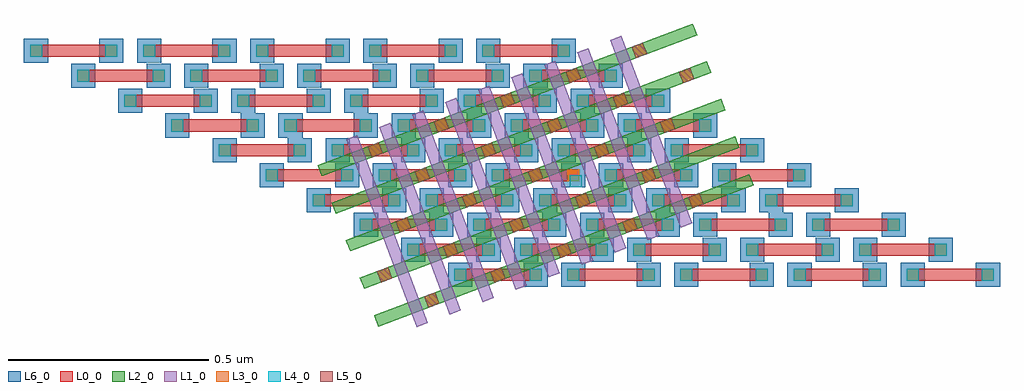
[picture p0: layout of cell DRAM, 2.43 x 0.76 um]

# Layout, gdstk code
import gdstk
lib = gdstk.Library(unit=1e-6, precision=1e-10)
def R(c, l, rs):  # rectangles x0, y0, x1, y1
    for r in rs: c.add(gdstk.rectangle(r[:2], r[2:], *l))
def A(c, l, x, y, w, h, nx, ny, dx, dy):  # array of equal rectangles
    R(c, l, [(x+i*dx, y+j*dy, x+i*dx+w, y+j*dy+h) for i in range(nx) for j in range(ny)])
def P(c, l, *ps):  # polygons
    for p in ps: c.add(gdstk.Polygon(p, *l))
L0_0 = (0, 0)
L1_0 = (1, 0)
L2_0 = (2, 0)
L3_0 = (3, 0)
L4_0 = (4, 0)
L5_0 = (5, 0)
L6_0 = (6, 0)

dram = lib.new_cell('DRAM')
A(dram, L0_0, 0.0792, -0.263, 0.2181, 0.03, 3, 1, 0.2821, 0)
A(dram, L0_0, -0.0384, -0.201, 0.2181, 0.03, 4, 1, 0.2821, 0)
A(dram, L0_0, 0.1261, -0.139, 0.2181, 0.03, 3, 1, 0.2821, 0)
A(dram, L0_0, -0.5556, -0.077, 0.218, 0.03, 3, 1, 0.2821, 0)
A(dram, L0_0, -0.3911, -0.015, 0.218, 0.03, 3, 1, 0.2821, 0)
A(dram, L0_0, -0.2266, 0.047, 0.218, 0.03, 3, 1, 0.2821, 0)
A(dram, L0_0, -0.9084, 0.109, 0.2181, 0.03, 3, 1, 0.2821, 0)
A(dram, L0_0, -1.026, 0.171, 0.2181, 0.03, 4, 1, 0.2821, 0)
A(dram, L0_0, -0.8615, 0.233, 0.2181, 0.03, 3, 1, 0.2821, 0)
A(dram, L0_0, -0.697, 0.295, 0.2181, 0.03, 3, 1, 0.2821, 0)
R(dram, L0_0, [(-0.2028,-0.263,0.0152,-0.233), (0.9255,-0.263,1.1435,-0.233), (-0.3204,-0.201,-0.1024,-0.171), (-0.438,-0.139,-0.22,-0.109), (-0.1559,-0.139,0.0621,-0.109), (0.2906,-0.077,0.5087,-0.047), (0.5727,-0.077,0.7908,-0.047), (-0.6732,-0.015,-0.4551,0.015), (0.4551,-0.015,0.6732,0.015), (-0.7908,0.047,-0.5727,0.077), (-0.5087,0.047,-0.2906,0.077), (-0.0621,0.109,0.1559,0.139), (0.22,0.109,0.438,0.139), (0.1024,0.171,0.3204,0.201), (-1.1435,0.233,-0.9255,0.263), (-0.0152,0.233,0.2028,0.263), (-1.2611,0.295,-1.0431,0.325), (-0.979,0.295,-0.761,0.325)])
P(dram, L1_0, [(-0.2142,-0.3478),(-0.3904,0.1202),(-0.3623,0.1308),(-0.1861,-0.3372)],
  [(0.3623,-0.1308),(0.1861,0.3372),(0.2142,0.3478),(0.3904,-0.1202)],
  [(-0.2966,-0.3788),(-0.4727,0.0892),(-0.4446,0.0998),(-0.2685,-0.3682)],
  [(-0.1319,-0.3168),(-0.308,0.1512),(-0.2799,0.1618),(-0.1038,-0.3062)],
  [(0.0329,-0.2548),(-0.1433,0.2132),(-0.1152,0.2238),(0.0609,-0.2442)],
  [(-0.0495,-0.2858),(-0.2256,0.1822),(-0.1976,0.1928),(-0.0214,-0.2752)],
  [(0.2799,-0.1618),(0.1038,0.3062),(0.1319,0.3168),(0.308,-0.1512)],
  [(0.1152,-0.2238),(-0.0609,0.2442),(-0.0329,0.2548),(0.1433,-0.2132)],
  [(0.1976,-0.1928),(0.0214,0.2752),(0.0495,0.2858),(0.2256,-0.1822)])
P(dram, L2_0, [(-0.4627,-0.1902),(-0.4732,-0.1621),(0.4627,0.1902),(0.4732,0.1621)],
  [(-0.5331,-0.003),(-0.5437,0.0251),(0.3922,0.3774),(0.4028,0.3493)],
  [(-0.4979,-0.0966),(-0.5085,-0.0685),(0.4274,0.2838),(0.438,0.2557)],
  [(-0.3922,-0.3774),(-0.4028,-0.3493),(0.5331,0.003),(0.5437,-0.0251)],
  [(-0.4274,-0.2838),(-0.438,-0.2557),(0.4979,0.0966),(0.5085,0.0685)])
R(dram, L3_0, [(-0.2028,-0.263,-0.1728,-0.233), (-0.0148,-0.263,0.0152,-0.233), (0.0792,-0.263,0.1092,-0.233), (0.2673,-0.263,0.2973,-0.233), (0.3613,-0.263,0.3913,-0.233), (0.5494,-0.263,0.5794,-0.233), (0.6434,-0.263,0.6734,-0.233), (0.8315,-0.263,0.8615,-0.233), (0.9255,-0.263,0.9555,-0.233), (1.1135,-0.263,1.1435,-0.233), (-0.3204,-0.201,-0.2904,-0.171), (-0.1324,-0.201,-0.1024,-0.171), (-0.0384,-0.201,-0.0084,-0.171), (0.1497,-0.201,0.1797,-0.171), (0.2437,-0.201,0.2737,-0.171), (0.4318,-0.201,0.4618,-0.171), (0.5258,-0.201,0.5558,-0.171), (0.7139,-0.201,0.7439,-0.171), (0.8079,-0.201,0.8379,-0.171), (0.996,-0.201,1.026,-0.171), (-0.438,-0.139,-0.408,-0.109), (-0.25,-0.139,-0.22,-0.109), (-0.1559,-0.139,-0.1259,-0.109), (0.0321,-0.139,0.0621,-0.109), (0.1261,-0.139,0.1561,-0.109), (0.3142,-0.139,0.3442,-0.109), (0.4082,-0.139,0.4382,-0.109), (0.5963,-0.139,0.6263,-0.109), (0.6903,-0.139,0.7203,-0.109), (0.8784,-0.139,0.9084,-0.109), (-0.5556,-0.077,-0.5256,-0.047), (-0.3676,-0.077,-0.3376,-0.047), (-0.2735,-0.077,-0.2435,-0.047), (-0.0855,-0.077,-0.0555,-0.047), (0.0086,-0.077,0.0386,-0.047), (0.1966,-0.077,0.2266,-0.047), (0.2906,-0.077,0.3206,-0.047), (0.4787,-0.077,0.5087,-0.047), (0.5727,-0.077,0.6027,-0.047), (0.7608,-0.077,0.7908,-0.047), (-0.6732,-0.015,-0.6432,0.015), (-0.4851,-0.015,-0.4551,0.015), (-0.3911,-0.015,-0.3611,0.015), (-0.2031,-0.015,-0.1731,0.015), (-0.109,-0.015,-0.079,0.015), (0.079,-0.015,0.109,0.015), (0.1731,-0.015,0.2031,0.015), (0.3611,-0.015,0.3911,0.015), (0.4551,-0.015,0.4851,0.015), (0.6432,-0.015,0.6732,0.015), (-0.7908,0.047,-0.7608,0.077), (-0.6027,0.047,-0.5727,0.077), (-0.5087,0.047,-0.4787,0.077), (-0.3206,0.047,-0.2906,0.077), (-0.2266,0.047,-0.1966,0.077), (-0.0386,0.047,-0.0086,0.077), (0.0555,0.047,0.0855,0.077), (0.2435,0.047,0.2735,0.077), (0.3376,0.047,0.3676,0.077), (0.5256,0.047,0.5556,0.077), (-0.9084,0.109,-0.8784,0.139), (-0.7203,0.109,-0.6903,0.139), (-0.6263,0.109,-0.5963,0.139), (-0.4382,0.109,-0.4082,0.139), (-0.3442,0.109,-0.3142,0.139), (-0.1561,0.109,-0.1261,0.139), (-0.0621,0.109,-0.0321,0.139), (0.1259,0.109,0.1559,0.139), (0.22,0.109,0.25,0.139), (0.408,0.109,0.438,0.139), (-1.026,0.171,-0.996,0.201), (-0.8379,0.171,-0.8079,0.201), (-0.7439,0.171,-0.7139,0.201), (-0.5558,0.171,-0.5258,0.201), (-0.4618,0.171,-0.4318,0.201), (-0.2737,0.171,-0.2437,0.201), (-0.1797,0.171,-0.1497,0.201), (0.0084,0.171,0.0384,0.201), (0.1024,0.171,0.1324,0.201), (0.2904,0.171,0.3204,0.201), (-1.1435,0.233,-1.1135,0.263), (-0.9555,0.233,-0.9255,0.263), (-0.8615,0.233,-0.8315,0.263), (-0.6734,0.233,-0.6434,0.263), (-0.5794,0.233,-0.5494,0.263), (-0.3913,0.233,-0.3613,0.263), (-0.2973,0.233,-0.2673,0.263), (-0.1092,0.233,-0.0792,0.263), (-0.0152,0.233,0.0148,0.263), (0.1728,0.233,0.2028,0.263), (-1.2611,0.295,-1.2311,0.325), (-1.0731,0.295,-1.0431,0.325), (-0.979,0.295,-0.949,0.325), (-0.791,0.295,-0.761,0.325), (-0.697,0.295,-0.667,0.325), (-0.5089,0.295,-0.4789,0.325), (-0.4149,0.295,-0.3849,0.325), (-0.2268,0.295,-0.1968,0.325), (-0.1328,0.295,-0.1028,0.325), (0.0553,0.295,0.0853,0.325)])
P(dram, L3_0, [(-0.2677,-0.3305),(-0.2783,-0.3024),(-0.2502,-0.2919),(-0.2397,-0.3199)],
  [(-0.2911,-0.0187),(-0.3016,0.0093),(-0.2735,0.0199),(-0.263,-0.0082)],
  [(-0.3853,-0.2679),(-0.3959,-0.2398),(-0.3678,-0.2293),(-0.3572,-0.2573)],
  [(-0.2206,-0.2059),(-0.2312,-0.1778),(-0.2031,-0.1673),(-0.1925,-0.1953)],
  [(-0.103,-0.2685),(-0.1136,-0.2404),(-0.0855,-0.2299),(-0.0749,-0.2579)],
  [(0.0617,-0.2065),(0.0511,-0.1784),(0.0792,-0.1679),(0.0898,-0.1959)],
  [(0.2264,-0.1445),(0.2158,-0.1164),(0.2439,-0.1059),(0.2545,-0.1339)],
  [(-0.0559,-0.1439),(-0.0665,-0.1158),(-0.0384,-0.1053),(-0.0278,-0.1333)],
  [(-0.1735,-0.0813),(-0.184,-0.0532),(-0.156,-0.0427),(-0.1454,-0.0708)],
  [(-0.4086,0.0439),(-0.4192,0.0719),(-0.3911,0.0825),(-0.3806,0.0544)],
  [(-0.1263,0.0433),(-0.1369,0.0713),(-0.1088,0.0819),(-0.0983,0.0538)],
  [(0.1088,-0.0819),(0.0983,-0.0538),(0.1263,-0.0433),(0.1369,-0.0713)],
  [(0.3911,-0.0825),(0.3806,-0.0544),(0.4086,-0.0439),(0.4192,-0.0719)],
  [(-0.3382,-0.1433),(-0.3488,-0.1152),(-0.3207,-0.1047),(-0.3101,-0.1328)],
  [(0.3207,0.1047),(0.3101,0.1328),(0.3382,0.1433),(0.3488,0.1152)],
  [(-0.0088,-0.0193),(-0.0193,0.0088),(0.0088,0.0193),(0.0193,-0.0088)],
  [(-0.2439,0.1059),(-0.2545,0.1339),(-0.2264,0.1445),(-0.2158,0.1164)],
  [(-0.0792,0.1679),(-0.0898,0.1959),(-0.0617,0.2065),(-0.0511,0.1784)],
  [(0.0384,0.1053),(0.0278,0.1333),(0.0559,0.1439),(0.0665,0.1158)],
  [(0.2031,0.1673),(0.1925,0.1953),(0.2206,0.2059),(0.2312,0.1778)],
  [(0.3678,0.2293),(0.3572,0.2573),(0.3853,0.2679),(0.3959,0.2398)],
  [(0.0855,0.2299),(0.0749,0.2579),(0.103,0.2685),(0.1136,0.2404)],
  [(0.156,0.0427),(0.1454,0.0708),(0.1735,0.0813),(0.184,0.0532)],
  [(0.2735,-0.0199),(0.263,0.0082),(0.2911,0.0187),(0.3016,-0.0093)],
  [(0.2502,0.2919),(0.2397,0.3199),(0.2677,0.3305),(0.2783,0.3024)])
R(dram, L4_0, [(-0.2028,-0.263,-0.1728,-0.233), (-0.0148,-0.263,0.0152,-0.233), (0.0792,-0.263,0.1092,-0.233), (0.2673,-0.263,0.2973,-0.233), (0.3613,-0.263,0.3913,-0.233), (0.5494,-0.263,0.5794,-0.233), (0.6434,-0.263,0.6734,-0.233), (0.8315,-0.263,0.8615,-0.233), (0.9255,-0.263,0.9555,-0.233), (1.1135,-0.263,1.1435,-0.233), (-0.3204,-0.201,-0.2904,-0.171), (-0.1324,-0.201,-0.1024,-0.171), (-0.0384,-0.201,-0.0084,-0.171), (0.1497,-0.201,0.1797,-0.171), (0.2437,-0.201,0.2737,-0.171), (0.4318,-0.201,0.4618,-0.171), (0.5258,-0.201,0.5558,-0.171), (0.7139,-0.201,0.7439,-0.171), (0.8079,-0.201,0.8379,-0.171), (0.996,-0.201,1.026,-0.171), (-0.438,-0.139,-0.408,-0.109), (-0.25,-0.139,-0.22,-0.109), (-0.1559,-0.139,-0.1259,-0.109), (0.0321,-0.139,0.0621,-0.109), (0.1261,-0.139,0.1561,-0.109), (0.3142,-0.139,0.3442,-0.109), (0.4082,-0.139,0.4382,-0.109), (0.5963,-0.139,0.6263,-0.109), (0.6903,-0.139,0.7203,-0.109), (0.8784,-0.139,0.9084,-0.109), (-0.5556,-0.077,-0.5256,-0.047), (-0.3676,-0.077,-0.3376,-0.047), (-0.2735,-0.077,-0.2435,-0.047), (-0.0855,-0.077,-0.0555,-0.047), (0.0086,-0.077,0.0386,-0.047), (0.1966,-0.077,0.2266,-0.047), (0.2906,-0.077,0.3206,-0.047), (0.4787,-0.077,0.5087,-0.047), (0.5727,-0.077,0.6027,-0.047), (0.7608,-0.077,0.7908,-0.047), (0.0855,-0.03,0.1155,0), (-0.6732,-0.015,-0.6432,0.015), (-0.4851,-0.015,-0.4551,0.015), (-0.3911,-0.015,-0.3611,0.015), (-0.2031,-0.015,-0.1731,0.015), (-0.109,-0.015,-0.079,0.015), (0.1731,-0.015,0.2031,0.015), (0.3611,-0.015,0.3911,0.015), (0.4551,-0.015,0.4851,0.015), (0.6432,-0.015,0.6732,0.015), (-0.7908,0.047,-0.7608,0.077), (-0.6027,0.047,-0.5727,0.077), (-0.5087,0.047,-0.4787,0.077), (-0.3206,0.047,-0.2906,0.077), (-0.2266,0.047,-0.1966,0.077), (-0.0386,0.047,-0.0086,0.077), (0.0555,0.047,0.0855,0.077), (0.2435,0.047,0.2735,0.077), (0.3376,0.047,0.3676,0.077), (0.5256,0.047,0.5556,0.077), (-0.9084,0.109,-0.8784,0.139), (-0.7203,0.109,-0.6903,0.139), (-0.6263,0.109,-0.5963,0.139), (-0.4382,0.109,-0.4082,0.139), (-0.3442,0.109,-0.3142,0.139), (-0.1561,0.109,-0.1261,0.139), (-0.0621,0.109,-0.0321,0.139), (0.1259,0.109,0.1559,0.139), (0.22,0.109,0.25,0.139), (0.408,0.109,0.438,0.139), (-1.026,0.171,-0.996,0.201), (-0.8379,0.171,-0.8079,0.201), (-0.7439,0.171,-0.7139,0.201), (-0.5558,0.171,-0.5258,0.201), (-0.4618,0.171,-0.4318,0.201), (-0.2737,0.171,-0.2437,0.201), (-0.1797,0.171,-0.1497,0.201), (0.0084,0.171,0.0384,0.201), (0.1024,0.171,0.1324,0.201), (0.2904,0.171,0.3204,0.201), (-1.1435,0.233,-1.1135,0.263), (-0.9555,0.233,-0.9255,0.263), (-0.8615,0.233,-0.8315,0.263), (-0.6734,0.233,-0.6434,0.263), (-0.5794,0.233,-0.5494,0.263), (-0.3913,0.233,-0.3613,0.263), (-0.2973,0.233,-0.2673,0.263), (-0.1092,0.233,-0.0792,0.263), (-0.0152,0.233,0.0148,0.263), (0.1728,0.233,0.2028,0.263), (-1.2611,0.295,-1.2311,0.325), (-1.0731,0.295,-1.0431,0.325), (-0.979,0.295,-0.949,0.325), (-0.791,0.295,-0.761,0.325), (-0.697,0.295,-0.667,0.325), (-0.5089,0.295,-0.4789,0.325), (-0.4149,0.295,-0.3849,0.325), (-0.2268,0.295,-0.1968,0.325), (-0.1328,0.295,-0.1028,0.325), (0.0553,0.295,0.0853,0.325)])
P(dram, L5_0, [(-0.2677,-0.3305),(-0.2783,-0.3024),(-0.2502,-0.2919),(-0.2397,-0.3199)],
  [(-0.3853,-0.2679),(-0.3959,-0.2398),(-0.3678,-0.2293),(-0.3572,-0.2573)],
  [(-0.2206,-0.2059),(-0.2312,-0.1778),(-0.2031,-0.1673),(-0.1925,-0.1953)],
  [(-0.103,-0.2685),(-0.1136,-0.2404),(-0.0855,-0.2299),(-0.0749,-0.2579)],
  [(0.0617,-0.2065),(0.0511,-0.1784),(0.0792,-0.1679),(0.0898,-0.1959)],
  [(0.2264,-0.1445),(0.2158,-0.1164),(0.2439,-0.1059),(0.2545,-0.1339)],
  [(-0.0559,-0.1439),(-0.0665,-0.1158),(-0.0384,-0.1053),(-0.0278,-0.1333)],
  [(-0.1735,-0.0813),(-0.184,-0.0532),(-0.156,-0.0427),(-0.1454,-0.0708)],
  [(-0.2911,-0.0187),(-0.3016,0.0093),(-0.2735,0.0199),(-0.263,-0.0082)],
  [(-0.4086,0.0439),(-0.4192,0.0719),(-0.3911,0.0825),(-0.3806,0.0544)],
  [(-0.1263,0.0433),(-0.1369,0.0713),(-0.1088,0.0819),(-0.0983,0.0538)],
  [(-0.3382,-0.1433),(-0.3488,-0.1152),(-0.3207,-0.1047),(-0.3101,-0.1328)],
  [(0.3207,0.1047),(0.3101,0.1328),(0.3382,0.1433),(0.3488,0.1152)],
  [(0.1088,-0.0819),(0.0983,-0.0538),(0.1263,-0.0433),(0.1369,-0.0713)],
  [(0.3911,-0.0825),(0.3806,-0.0544),(0.4086,-0.0439),(0.4192,-0.0719)],
  [(0.2735,-0.0199),(0.263,0.0082),(0.2911,0.0187),(0.3016,-0.0093)],
  [(-0.0088,-0.0193),(-0.0193,0.0088),(0.0088,0.0193),(0.0193,-0.0088)],
  [(-0.2439,0.1059),(-0.2545,0.1339),(-0.2264,0.1445),(-0.2158,0.1164)],
  [(-0.0792,0.1679),(-0.0898,0.1959),(-0.0617,0.2065),(-0.0511,0.1784)],
  [(0.0384,0.1053),(0.0278,0.1333),(0.0559,0.1439),(0.0665,0.1158)],
  [(0.2031,0.1673),(0.1925,0.1953),(0.2206,0.2059),(0.2312,0.1778)],
  [(0.3678,0.2293),(0.3572,0.2573),(0.3853,0.2679),(0.3959,0.2398)],
  [(0.0855,0.2299),(0.0749,0.2579),(0.103,0.2685),(0.1136,0.2404)],
  [(0.156,0.0427),(0.1454,0.0708),(0.1735,0.0813),(0.184,0.0532)],
  [(0.2502,0.2919),(0.2397,0.3199),(0.2677,0.3305),(0.2783,0.3024)])
R(dram, L6_0, [(-0.2178,-0.278,-0.1578,-0.218), (-0.0298,-0.278,0.0302,-0.218), (0.0642,-0.278,0.1242,-0.218), (0.2523,-0.278,0.3123,-0.218), (0.3463,-0.278,0.4063,-0.218), (0.5344,-0.278,0.5944,-0.218), (0.6284,-0.278,0.6884,-0.218), (0.8165,-0.278,0.8765,-0.218), (0.9105,-0.278,0.9705,-0.218), (1.0985,-0.278,1.1585,-0.218), (-0.3354,-0.216,-0.2754,-0.156), (-0.1474,-0.216,-0.0874,-0.156), (-0.0534,-0.216,0.0066,-0.156), (0.1347,-0.216,0.1947,-0.156), (0.2287,-0.216,0.2887,-0.156), (0.4168,-0.216,0.4768,-0.156), (0.5108,-0.216,0.5708,-0.156), (0.6989,-0.216,0.7589,-0.156), (0.7929,-0.216,0.8529,-0.156), (0.981,-0.216,1.041,-0.156), (-0.453,-0.154,-0.393,-0.094), (-0.265,-0.154,-0.205,-0.094), (-0.1709,-0.154,-0.1109,-0.094), (0.0171,-0.154,0.0771,-0.094), (0.1111,-0.154,0.1711,-0.094), (0.2992,-0.154,0.3592,-0.094), (0.3932,-0.154,0.4532,-0.094), (0.5813,-0.154,0.6413,-0.094), (0.6753,-0.154,0.7353,-0.094), (0.8634,-0.154,0.9234,-0.094), (-0.5706,-0.092,-0.5106,-0.032), (-0.3826,-0.092,-0.3226,-0.032), (-0.2885,-0.092,-0.2285,-0.032), (-0.1005,-0.092,-0.0405,-0.032), (-0.0064,-0.092,0.0536,-0.032), (0.1816,-0.092,0.2416,-0.032), (0.2756,-0.092,0.3356,-0.032), (0.4637,-0.092,0.5237,-0.032), (0.5577,-0.092,0.6177,-0.032), (0.7458,-0.092,0.8058,-0.032), (-0.6882,-0.03,-0.6282,0.03), (-0.5001,-0.03,-0.4401,0.03), (-0.4061,-0.03,-0.3461,0.03), (-0.2181,-0.03,-0.1581,0.03), (-0.124,-0.03,-0.064,0.03), (0.064,-0.03,0.124,0.03), (0.1581,-0.03,0.2181,0.03), (0.3461,-0.03,0.4061,0.03), (0.4401,-0.03,0.5001,0.03), (0.6282,-0.03,0.6882,0.03), (-0.8058,0.032,-0.7458,0.092), (-0.6177,0.032,-0.5577,0.092), (-0.5237,0.032,-0.4637,0.092), (-0.3356,0.032,-0.2756,0.092), (-0.2416,0.032,-0.1816,0.092), (-0.0536,0.032,0.0064,0.092), (0.0405,0.032,0.1005,0.092), (0.2285,0.032,0.2885,0.092), (0.3226,0.032,0.3826,0.092), (0.5106,0.032,0.5706,0.092), (-0.9234,0.094,-0.8634,0.154), (-0.7353,0.094,-0.6753,0.154), (-0.6413,0.094,-0.5813,0.154), (-0.4532,0.094,-0.3932,0.154), (-0.3592,0.094,-0.2992,0.154), (-0.1711,0.094,-0.1111,0.154), (-0.0771,0.094,-0.0171,0.154), (0.1109,0.094,0.1709,0.154), (0.205,0.094,0.265,0.154), (0.393,0.094,0.453,0.154), (-1.041,0.156,-0.981,0.216), (-0.8529,0.156,-0.7929,0.216), (-0.7589,0.156,-0.6989,0.216), (-0.5708,0.156,-0.5108,0.216), (-0.4768,0.156,-0.4168,0.216), (-0.2887,0.156,-0.2287,0.216), (-0.1947,0.156,-0.1347,0.216), (-0.0066,0.156,0.0534,0.216), (0.0874,0.156,0.1474,0.216), (0.2754,0.156,0.3354,0.216), (-1.1585,0.218,-1.0985,0.278), (-0.9705,0.218,-0.9105,0.278), (-0.8765,0.218,-0.8165,0.278), (-0.6884,0.218,-0.6284,0.278), (-0.5944,0.218,-0.5344,0.278), (-0.4063,0.218,-0.3463,0.278), (-0.3123,0.218,-0.2523,0.278), (-0.1242,0.218,-0.0642,0.278), (-0.0302,0.218,0.0298,0.278), (0.1578,0.218,0.2178,0.278), (-1.2761,0.28,-1.2161,0.34), (-1.0881,0.28,-1.0281,0.34), (-0.994,0.28,-0.934,0.34), (-0.806,0.28,-0.746,0.34), (-0.712,0.28,-0.652,0.34), (-0.5239,0.28,-0.4639,0.34), (-0.4299,0.28,-0.3699,0.34), (-0.2418,0.28,-0.1818,0.34), (-0.1478,0.28,-0.0878,0.34), (0.0403,0.28,0.1003,0.34)])

lib.write_gds('DRAM.gds')
